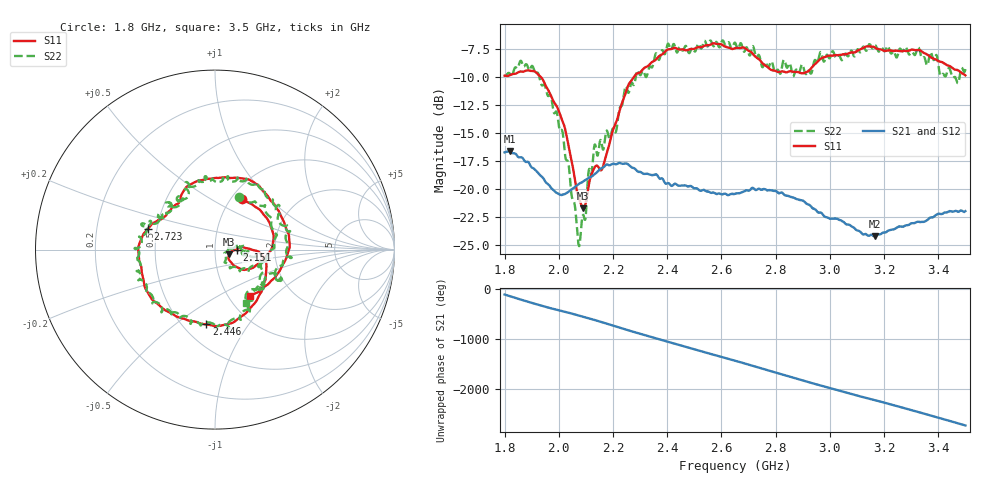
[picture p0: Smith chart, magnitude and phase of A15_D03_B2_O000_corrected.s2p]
! Created with skrf 1.9.0 (http://scikit-rf.org).
# Hz S RI R 50.0
!freq ReS11 ImS11 ReS21 ImS21 ReS12 ImS12 ReS22 ImS22
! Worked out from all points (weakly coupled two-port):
!   1601 points, 1.8 GHz to 3.5 GHz, reference 50 ohm
!   highest |S21| = -16.66 dB at 1.818 GHz (marker M1); lowest = -24.3 dB at 3.165 GHz (marker M2)
!   lowest |S11| = -21.7 dB at 2.09 GHz (marker M3), VSWR 1.18, Z = 58.3 - j3.06 ohm
!   |S11| at or under -10 dB: 1.934 GHz to 2.277 GHz (343.2 MHz wide, 16.3 % of centre)
!   |S22| runs from -25.1 to -6.7 dB; largest |S21 - S12| = 0.0025
!   S11 on the Smith chart (normalised r, x): 1.8 GHz: 1.12, +0.71; 2.151 GHz: 1.28, +0.00; 2.446 GHz: 0.65, -0.66; 2.723 GHz: 0.44, +0.12; 3.5 GHz: 1.25, -0.72
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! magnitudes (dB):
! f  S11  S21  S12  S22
! 1.8 GHz  -9.9  -16.7  -16.7  -9.8
! 1.818 GHz  -9.9  -16.7  -16.7  -9.7
! 1.903 GHz  -9.5  -18.1  -18.1  -9.0
! 1.968 GHz  -11.5  -19.8  -19.8  -11.6
! 2.014 GHz  -13.9  -20.5  -20.6  -14.9
! 2.072 GHz  -20.7  -19.6  -19.6  -24.9
! 2.084 GHz  -21.5  -19.5  -19.4  -23.1
! 2.09 GHz  -21.7  -19.3  -19.4  -22.3
! 2.129 GHz  -18.2  -18.7  -18.7  -16.4
! 2.151 GHz  -18.2  -18.3  -18.3  -15.9
! 2.209 GHz  -14.2  -17.8  -17.8  -15.0
! 2.259 GHz  -10.6  -17.9  -17.9  -11.3
! 2.367 GHz  -8.2  -19.0  -18.9  -8.4
! 2.446 GHz  -7.6  -19.7  -19.7  -7.3
! 2.65 GHz  -7.4  -20.4  -20.4  -6.9
! 2.723 GHz  -8.1  -20.1  -20.0  -7.8
! 2.934 GHz  -9.1  -21.7  -21.7  -9.6
! 3.165 GHz  -7.4  -24.3  -24.2  -7.2
! 3.217 GHz  -7.6  -23.7  -23.7  -7.4
! 3.376 GHz  -8.3  -22.6  -22.6  -7.9
! 3.469 GHz  -9.4  -22.0  -22.0  -10.5
! 3.5 GHz  -9.9  -22.0  -22.0  -9.3
